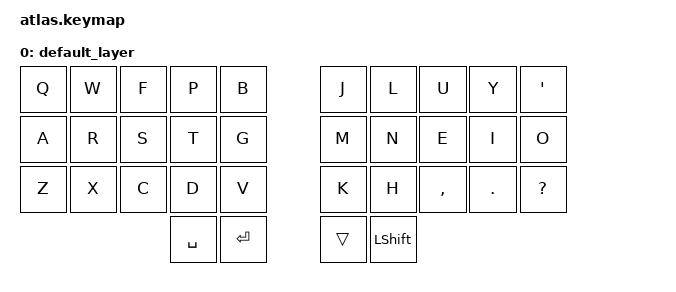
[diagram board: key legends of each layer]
/*
 * ============================================================================
 * SHIELD DEFAULT KEYMAP - NOT USED (overridden by config/atlas.keymap)
 * ============================================================================
 * This is the fallback keymap for the atlas shield definition.
 * It is NOT used when config/atlas.keymap exists (which it does).
 *
 * To edit your actual keymap, modify: config/atlas.keymap
 */

#include <behaviors.dtsi>
#include <dt-bindings/zmk/keys.h>
#include <dt-bindings/zmk/bt.h>

/ {
        keymap {
                compatible = "zmk,keymap";

                /*
                 * DEFAULT LAYER (Base layer - your main typing layer)
                 * 
                 * KEYMAP STRUCTURE:
                 * - Each row is defined on a separate line
                 * - Keys are separated by spaces
                 * - The visual layout shows the physical key positions
                 * - To DISABLE a key: replace its binding with &trans (transparent/no-op)
                 * - To CHANGE a key: replace the key code (e.g., &kp Q becomes &kp Z)
                 * 
                 * COMMON KEY CODES:
                 * - &kp KEYNAME (e.g., &kp Q, &kp SPACE, &kp ENTER)
                 * - &mo LAYER_NUMBER (momentary layer switch)
                 * - &mt MODIFIER KEY (mod-tap: hold for modifier, tap for key)
                 * - &lt LAYER KEY (layer-tap: hold for layer, tap for key)
                 * - &trans (transparent - key does nothing)
                 * - &bt BT_SEL N (Bluetooth device selection)
                 */
                default_layer {
//             ┏━━━━━━━━━━━┳━━━━━━━━━━━┳━━━━━━━━━━━┳━━━━━━━━━━━┳━━━━━━━━━━━┓   ┏━━━━━━━━━━━┳━━━━━━━━━━━┳━━━━━━━━━━━┳━━━━━━━━━━━┳━━━━━━━━━━━┓
//             ┃     Q     ┃     W     ┃     F     ┃     P     ┃     B     ┃   ┃     J     ┃     L     ┃     U     ┃     Y     ┃     '     ┃
//             ┣━━━━━━━━━━━╋━━━━━━━━━━━╋━━━━━━━━━━━╋━━━━━━━━━━━╋━━━━━━━━━━━┫   ┣━━━━━━━━━━━╋━━━━━━━━━━━╋━━━━━━━━━━━╋━━━━━━━━━━━╋━━━━━━━━━━━┫
//             ┃     A     ┃     R     ┃     S     ┃     T     ┃     G     ┃   ┃     M     ┃     N     ┃     E     ┃     I     ┃     O     ┃
//             ┣━━━━━━━━━━━╋━━━━━━━━━━━╋━━━━━━━━━━━╋━━━━━━━━━━━╋━━━━━━━━━━━┫   ┣━━━━━━━━━━━╋━━━━━━━━━━━╋━━━━━━━━━━━╋━━━━━━━━━━━╋━━━━━━━━━━━┫
//             ┃     Z     ┃     X     ┃     C     ┃     D     ┃     V     ┃   ┃     K     ┃     H     ┃     ,     ┃     .     ┃     ?     ┃         
//             ┗━━━━━━━━━━━┻━━━━━━━━━━━┻━━━━━━━━━━━╋━━━━━━━━━━━╋━━━━━━━━━━━┫   ┣━━━━━━━━━━━╋━━━━━━━━━━━╋━━━━━━━━━━━┻━━━━━━━━━━━┻━━━━━━━━━━━┛
//                                                 ┃    SPC    ┃   ENTER   ┃   ┃    NUM    ┃   SHIFT   ┃           
//                                                 ┗━━━━━━━━━━━┻━━━━━━━━━━━┛   ┗━━━━━━━━━━━┻━━━━━━━━━━━┛
                        bindings = <
                &kp Q       &kp W       &kp F       &kp P       &kp B           &kp J       &kp L       &kp U       &kp Y       &kp SQT
                &kp A       &kp R       &kp S       &kp T       &kp G           &kp M       &kp N       &kp E       &kp I       &kp O
                &kp Z       &kp X       &kp C       &kp D       &kp V           &kp K       &kp H       &kp COMMA   &kp DOT     &kp QMARK
                                                    &kp SPACE   &kp ENTER       &trans      &kp LSHFT 
                        >;
                };
        };
};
